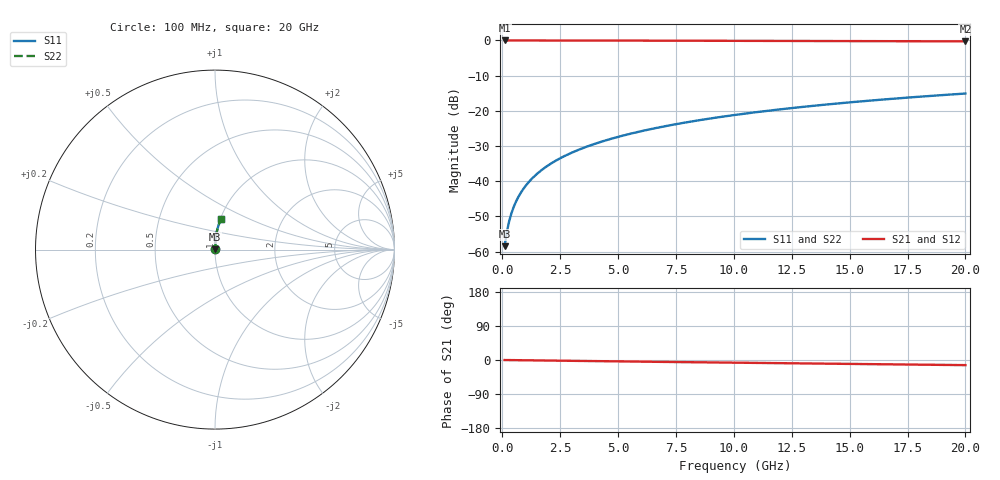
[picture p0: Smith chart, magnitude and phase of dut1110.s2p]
! Touchstone file exported from HFSS 2024.1.0
!  File:  C:/UserFiles/LocalFiles/RDL_TSV_Batchsim/temp_RDL_bottom_1110_1780054383.aedt
!  Generated:  07:35:50 PM May 29, 2026
!  Design:  RDL_bottom
!  Project:  temp_RDL_bottom_1110_1780054383
!  Setup:  Setup1
!  Solution:  Sweep
! Variables:
!  dtsv = 10.80580581um
!  hbump = 3um
!  htsv = 60.77um
!  ldown = 138.12um
!  lrdl = 100um
!  p = 40
!  p1 = 53.57um
!  rhole = 1um
!  t = 450um
!  tdown = 4.65um
!  trdl = 3.915915916um
!  wdown = 15.65um
!  wrdl = 20um
# GHz S MA R 50.000000
! Terminal data exported
! Port[1] = RDL1_T1
! Port[2] = RDL1_T2
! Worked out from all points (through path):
!   200 points, 100 MHz to 20 GHz, reference 50 ohm
!   highest |S21| = -0.01 dB at 100 MHz (marker M1); lowest = -0.3 dB at 20 GHz (marker M2)
!   group delay of S21, straight-line fit = 1.87 ps
!   lowest |S11| = -58.4 dB at 100 MHz (marker M3), VSWR 1.00, Z = 50.1 + j0.0881 ohm
!   |S11| at or under -10 dB: start of sweep to end of sweep
!   |S22| runs from -58.4 to -15.1 dB; largest |S21 - S12| = 3.7e-15
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0.1  0.001196 47.3  0.9992 -0.1  0.9992 -0.1  0.001196 47.3
! Gamma 0 0 0 0
! Port Impedance 50 0 50 0
0.2  0.001934 64.4  0.9992 -0.2  0.9992 -0.2  0.001934 64.4
0.3  0.002736 71.7  0.9991 -0.2  0.9991 -0.2  0.002736 71.7
0.4  0.003552 75.6  0.9991 -0.3  0.9991 -0.3  0.003552 75.6
0.5  0.004374 78.1  0.9991 -0.4  0.9991 -0.4  0.004374 78.1
0.7  0.006031 81.2  0.999 -0.5  0.999 -0.5  0.006031 81.2
0.8  0.006863 82.2  0.999 -0.6  0.999 -0.6  0.006863 82.2
1  0.008535 83.6  0.9989 -0.8  0.9989 -0.8  0.008535 83.6
1.2  0.01021 84.5  0.9988 -0.9  0.9988 -0.9  0.01021 84.5
1.4  0.01189 85.2  0.9987 -1.0  0.9987 -1.0  0.01189 85.2
1.7  0.01442 85.8  0.9985 -1.3  0.9985 -1.3  0.01442 85.8
2  0.01696 86.3  0.9983 -1.5  0.9983 -1.5  0.01696 86.3
2.7  0.0229 86.9  0.9978 -2.0  0.9978 -2.0  0.0229 86.9
3.5  0.02973 87.2  0.997 -2.6  0.997 -2.6  0.02973 87.2
4.2  0.03574 87.2  0.9962 -3.1  0.9962 -3.1  0.03574 87.2
5  0.04266 87.2  0.9951 -3.7  0.9951 -3.7  0.04266 87.2
6.8  0.05844 86.7  0.9926 -4.9  0.9926 -4.9  0.05844 86.7
8.3  0.07176 86.1  0.9903 -5.9  0.9903 -5.9  0.07176 86.1
10.1  0.08789 85.2  0.9874 -7.1  0.9874 -7.1  0.08789 85.2
13.4  0.1176 83.1  0.982 -9.3  0.982 -9.3  0.1176 83.1
16.7  0.1471 80.9  0.9763 -11.4  0.9763 -11.4  0.1471 80.9
20  0.1761 78.7  0.9701 -13.5  0.9701 -13.5  0.1761 78.7
